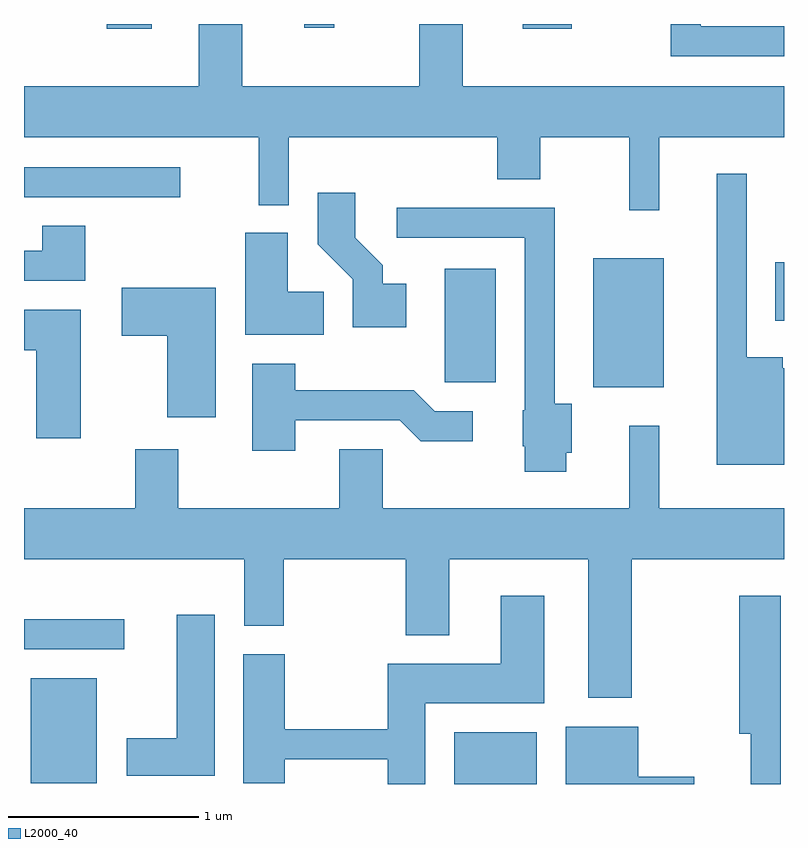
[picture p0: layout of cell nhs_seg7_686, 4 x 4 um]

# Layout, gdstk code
import gdstk
lib = gdstk.Library(unit=1e-6, precision=1e-09)
def R(c, l, rs):  # rectangles x0, y0, x1, y1
    for r in rs: c.add(gdstk.rectangle(r[:2], r[2:], *l))
def P(c, l, *ps):  # polygons
    for p in ps: c.add(gdstk.Polygon(p, *l))
L2000_40 = (2000, 40)

nhs_seg7_686 = lib.new_cell('nhs_seg7_686')
R(nhs_seg7_686, L2000_40, [(207.876,1704.252,208.309,1704.524), (205.646,1704.256,205.994,1704.809), (205.611,1704.961,206.138,1705.119), (208.606,1706.341,208.979,1707.019), (207.826,1706.366,208.094,1706.964), (209.566,1706.691,209.611,1706.999), (205.611,1707.341,206.433,1707.499), (206.046,1708.226,206.284,1708.252), (208.236,1708.226,208.494,1708.252), (207.086,1708.233,207.244,1708.252)])
P(nhs_seg7_686, L2000_40, [(208.954,1707.656),(209.611,1707.656),(209.611,1707.924),(207.919,1707.924),(207.919,1708.252),(207.691,1708.252),(207.691,1707.924),(206.759,1707.924),(206.759,1708.252),(206.531,1708.252),(206.531,1707.924),(205.611,1707.924),(205.611,1707.656),(206.846,1707.656),(206.846,1707.298),(207.004,1707.298),(207.004,1707.656),(208.101,1707.656),(208.101,1707.436),(208.329,1707.436),(208.329,1707.656),(208.796,1707.656),(208.796,1707.273),(208.954,1707.273)],
  [(209.611,1708.239),(209.174,1708.239),(209.174,1708.252),(209.016,1708.252),(209.016,1708.081),(209.611,1708.081)],
  [(209.611,1706.439),(209.604,1706.439),(209.604,1706.499),(209.414,1706.499),(209.414,1707.463),(209.256,1707.463),(209.256,1705.931),(209.611,1705.931)],
  [(207.624,1706.884),(207.499,1706.884),(207.499,1706.982),(207.354,1707.127),(207.354,1707.364),(207.156,1707.364),(207.156,1707.094),(207.341,1706.909),(207.341,1706.656),(207.624,1706.656)],
  [(208.464,1705.996),(208.494,1705.996),(208.494,1706.254),(208.404,1706.254),(208.404,1707.284),(207.573,1707.284),(207.573,1707.126),(208.246,1707.126),(208.246,1706.22),(208.236,1706.22),(208.236,1706.03),(208.246,1706.03),(208.246,1705.896),(208.464,1705.896)],
  [(205.934,1707.189),(205.706,1707.189),(205.706,1707.059),(205.611,1707.059),(205.611,1706.901),(205.934,1706.901)],
  [(207.189,1706.844),(206.999,1706.844),(206.999,1707.154),(206.776,1707.154),(206.776,1706.616),(207.189,1706.616)],
  [(206.619,1706.864),(206.126,1706.864),(206.126,1706.611),(206.366,1706.611),(206.366,1706.181),(206.619,1706.181)],
  [(205.909,1706.749),(205.611,1706.749),(205.611,1706.536),(205.676,1706.536),(205.676,1706.071),(205.909,1706.071)],
  [(207.039,1706.166),(207.589,1706.166),(207.699,1706.056),(207.973,1706.056),(207.973,1706.214),(207.772,1706.214),(207.662,1706.324),(207.039,1706.324),(207.039,1706.464),(206.811,1706.464),(206.811,1706.006),(207.039,1706.006)],
  [(208.809,1705.436),(209.611,1705.436),(209.611,1705.704),(208.954,1705.704),(208.954,1706.138),(208.796,1706.138),(208.796,1705.704),(207.499,1705.704),(207.499,1706.014),(207.271,1706.014),(207.271,1705.704),(206.424,1705.704),(206.424,1706.014),(206.196,1706.014),(206.196,1705.704),(205.611,1705.704),(205.611,1705.436),(206.771,1705.436),(206.771,1705.086),(206.979,1705.086),(206.979,1705.436),(207.621,1705.436),(207.621,1705.036),(207.849,1705.036),(207.849,1705.436),(208.581,1705.436),(208.581,1704.706),(208.809,1704.706)],
  [(209.594,1705.244),(209.376,1705.244),(209.376,1704.516),(209.436,1704.516),(209.436,1704.252),(209.594,1704.252)],
  [(207.724,1704.676),(208.349,1704.676),(208.349,1705.244),(208.121,1705.244),(208.121,1704.884),(207.526,1704.884),(207.526,1704.539),(206.984,1704.539),(206.984,1704.934),(206.766,1704.934),(206.766,1704.256),(206.984,1704.256),(206.984,1704.381),(207.526,1704.381),(207.526,1704.252),(207.724,1704.252)],
  [(206.614,1705.144),(206.416,1705.144),(206.416,1704.494),(206.151,1704.494),(206.151,1704.296),(206.614,1704.296)],
  [(209.139,1704.289),(208.844,1704.289),(208.844,1704.554),(208.461,1704.554),(208.461,1704.252),(209.139,1704.252)])

lib.write_gds('nhs_seg7_686.gds')
